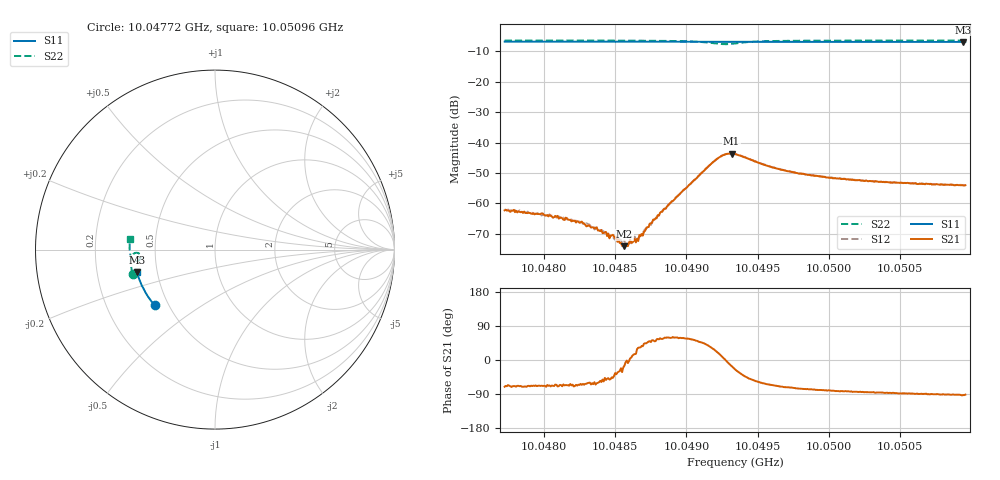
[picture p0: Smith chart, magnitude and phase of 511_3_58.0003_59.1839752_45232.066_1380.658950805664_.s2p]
#  HZ  S  RI  R  50.00
! Rohde & Schwarz Vector Network Analyzer
! Rohde-Schwarz,ZNB20-2Port,1311601062101988,3.16
! Created: UTC 3/21/2024, 1:13:12 AM
! freq[Hz]  re:S11  im:S11  re:S21  im:S21  re:S12  im:S12  re:S22  im:S22
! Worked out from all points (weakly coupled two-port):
!   401 points, 10.04772 GHz to 10.05096 GHz, reference 50 ohm
!   highest |S21| = -43.64 dB at 10.04932 GHz (marker M1); lowest = -74.1 dB at 10.04856 GHz (marker M2)
!   lowest |S11| = -6.9 dB at 10.05094 GHz (marker M3), VSWR 2.65, Z = 19.2 - j6.03 ohm
!   |S11| at or under -10 dB: nowhere
!   |S22| runs from -7.6 to -6.4 dB; largest |S21 - S12| = 0.00047
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1.0047723e10  -0.3367 -0.3102  0.000253 -0.000722  0.000331 -0.000718  -0.4587 -0.1363
1.0047982e10  -0.3476 -0.297  0.000256 -0.000631  0.000279 -0.000563  -0.4628 -0.1187
1.0048176e10  -0.3556 -0.2869  0.000202 -0.000494  0.000228 -0.000514  -0.4656 -0.1051
1.0048265e10  -0.3589 -0.2822  0.000208 -0.000454  0.000231 -0.000427  -0.4666 -0.0989
1.0048387e10  -0.3637 -0.2757  0.000185 -0.000304  0.000216 -0.000295  -0.4679 -0.0899
1.004846e10  -0.3666 -0.2719  0.000165 -0.000207  0.000204 -0.000206  -0.4685 -0.0843
1.0048492e10  -0.3677 -0.27  0.00021 -0.00019  0.000196 -0.000174  -0.4688 -0.0819
1.0048524e10  -0.3689 -0.2683  0.000214 -0.000127  0.000244 -9.38e-05  -0.4691 -0.0794
1.0048532e10  -0.3693 -0.2678  0.000193 -0.000108  0.000228 -0.000111  -0.4689 -0.0787
1.0048565e10  -0.3704 -0.266  0.00019 -5.14e-05  0.000238 -4.91e-05  -0.4692 -0.0761
1.0048605e10  -0.3719 -0.2639  0.000251 1.92e-05  0.000227 2.87e-05  -0.4694 -0.073
1.0048662e10  -0.3738 -0.2608  0.000203 0.000128  0.000225 0.00014  -0.4696 -0.068
1.0048807e10  -0.3792 -0.2526  0.000364 0.000513  0.000305 0.000549  -0.4688 -0.0549
1.0049196e10  -0.3917 -0.2305  0.00438 0.00226  0.00424 0.00253  -0.4296 -0.0188
1.0049261e10  -0.3933 -0.2269  0.00619 0.000605  0.00616 0.000934  -0.4149 -0.0332
1.0049317e10  -0.3952 -0.2238  0.00631 -0.00185  0.00646 -0.00143  -0.4171 -0.053
1.0049341e10  -0.3958 -0.2227  0.00587 -0.0027  0.00605 -0.00228  -0.4228 -0.0589
1.0049617e10  -0.4045 -0.2065  0.00149 -0.00355  0.00171 -0.00348  -0.467 -0.0432
1.0049883e10  -0.4118 -0.1906  0.000603 -0.00281  0.00078 -0.0028  -0.4741 -0.0176
1.0050426e10  -0.4248 -0.1575  0.000127 -0.00221  0.000239 -0.00223  -0.4756 0.0242
1.0050943e10  -0.4345 -0.125  -8.74e-05 -0.00197  1.75e-05 -0.002  -0.4722 0.0601
1.005096e10  -0.4348 -0.1241  -4.88e-05 -0.00198  1.28e-05 -0.00199  -0.472 0.0613
